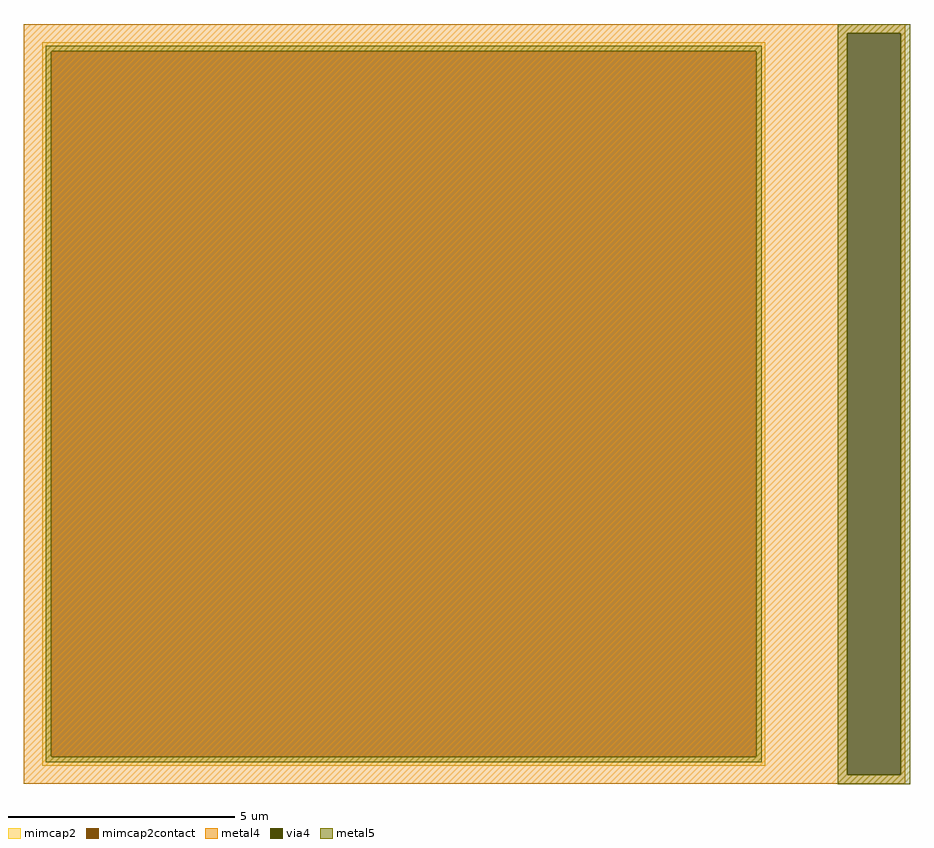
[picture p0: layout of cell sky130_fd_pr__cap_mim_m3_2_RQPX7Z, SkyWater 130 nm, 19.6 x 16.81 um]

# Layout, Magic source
magic
tech sky130A
magscale 1 2
<< metal4 >>
rect -1949 1639 1949 1680
rect -1949 -1639 1693 1639
rect 1929 -1639 1949 1639
rect -1949 -1680 1949 -1639
<< via4 >>
rect 1693 -1639 1929 1639
<< mimcap2 >>
rect -1869 1560 1331 1600
rect -1869 -1560 -1829 1560
rect 1291 -1560 1331 1560
rect -1869 -1600 1331 -1560
<< mimcap2contact >>
rect -1829 -1560 1291 1560
<< metal5 >>
rect 1651 1639 1971 1681
rect -1853 1560 1315 1584
rect -1853 -1560 -1829 1560
rect 1291 -1560 1315 1560
rect -1853 -1584 1315 -1560
rect 1651 -1639 1693 1639
rect 1929 -1639 1971 1639
rect 1651 -1681 1971 -1639
<< properties >>
string FIXED_BBOX -1949 -1680 1411 1680
string gencell sky130_fd_pr__cap_mim_m3_2
string library sky130
string parameters w 16.0 l 16.0 val 524.159 carea 2.00 cperi 0.19 nx 1 ny 1 dummy 0 square 0 lmin 2.00 wmin 2.00 lmax 30.0 wmax 30.0 dc 0 bconnect 1 tconnect 1 ccov 100
<< end >>
